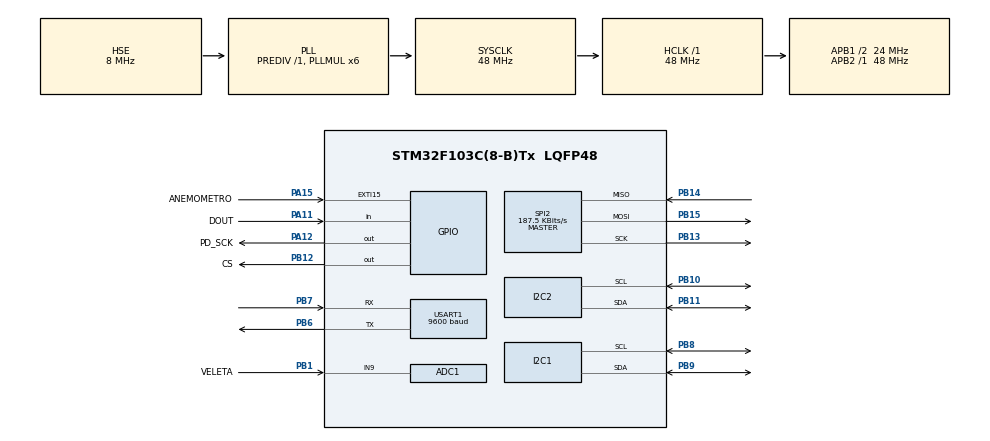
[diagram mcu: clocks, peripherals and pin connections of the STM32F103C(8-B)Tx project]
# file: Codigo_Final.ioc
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ADC1.Channel-0\#ChannelRegularConversion=ADC_CHANNEL_9
ADC1.NbrOfConversionFlag=1
ADC1.Rank-0\#ChannelRegularConversion=1
ADC1.SamplingTime-0\#ChannelRegularConversion=ADC_SAMPLETIME_1CYCLE_5
ADC1.master=1
FATFS._CODE_PAGE=1
Mcu.Family=STM32F1
Mcu.Name=STM32F103C(8-B)Tx
Mcu.Package=LQFP48
NVIC.ADC1_2_IRQn=true\:0\:0\:false\:false\:true\:true\:true\:true
NVIC.EXTI15_10_IRQn=true\:0\:0\:false\:false\:true\:true\:true\:true
NVIC.PriorityGroup=NVIC_PRIORITYGROUP_4
NVIC.TIM2_IRQn=true\:0\:0\:false\:false\:true\:true\:true\:true
NVIC.TIM3_IRQn=true\:0\:0\:false\:false\:true\:true\:true\:true
PA11.GPIO_Label=DOUT
PA11.GPIO_PuPd=GPIO_PULLUP
PA11.Signal=GPIO_Input
PA12.GPIO_Label=PD_SCK
PA12.GPIO_Speed=GPIO_SPEED_FREQ_HIGH
PA12.Signal=GPIO_Output
PA13.Mode=Serial_Wire
PA13.Signal=SYS_JTMS-SWDIO
PA14.Mode=Serial_Wire
PA14.Signal=SYS_JTCK-SWCLK
PA15.GPIO_Label=ANEMOMETRO
PA15.GPIO_PuPd=GPIO_PULLUP
PA15.Signal=GPXTI15
PB1.GPIO_Label=VELETA
PB1.Signal=ADCx_IN9
PB10.Mode=I2C
PB10.Signal=I2C2_SCL
PB11.Mode=I2C
PB11.Signal=I2C2_SDA
PB12.GPIO_Label=CS
PB12.Signal=GPIO_Output
PB13.Mode=Full_Duplex_Master
PB13.Signal=SPI2_SCK
PB14.Mode=Full_Duplex_Master
PB14.Signal=SPI2_MISO
PB15.Mode=Full_Duplex_Master
PB15.Signal=SPI2_MOSI
PB6.Mode=Asynchronous
PB6.Signal=USART1_TX
PB7.Mode=Asynchronous
PB7.Signal=USART1_RX
PB8.Mode=I2C
PB8.Signal=I2C1_SCL
PB9.Mode=I2C
PB9.Signal=I2C1_SDA
PD0-OSC_IN.Mode=HSE-External-Oscillator
PD0-OSC_IN.Signal=RCC_OSC_IN
PD1-OSC_OUT.Mode=HSE-External-Oscillator
PD1-OSC_OUT.Signal=RCC_OSC_OUT
ProjectManager.HeapSize=0x200
ProjectManager.StackSize=0x400
ProjectManager.TargetToolchain=STM32CubeIDE
RCC.ADCPresc=RCC_ADCPCLK2_DIV6
RCC.AHBFreq_Value=48000000
RCC.APB1CLKDivider=RCC_HCLK_DIV2
RCC.APB1Freq_Value=24000000
RCC.APB1TimFreq_Value=48000000
RCC.APB2Freq_Value=48000000
RCC.APB2TimFreq_Value=48000000
RCC.HCLKFreq_Value=48000000
RCC.PLLMUL=RCC_PLL_MUL6
RCC.PLLSourceVirtual=RCC_PLLSOURCE_HSE
RCC.SYSCLKFreq_VALUE=48000000
RCC.SYSCLKSource=RCC_SYSCLKSOURCE_PLLCLK
RCC.USBFreq_Value=48000000
RTC.Date=9
RTC.Hours=22
RTC.Minutes=26
RTC.Month=RTC_MONTH_NOVEMBER
RTC.WeekDay=RTC_WEEKDAY_WEDNESDAY
RTC.Year=22
SH.ADCx_IN9.0=ADC1_IN9,IN9
SPI2.BaudRatePrescaler=SPI_BAUDRATEPRESCALER_128
SPI2.CalculateBaudRate=187.5 KBits/s
SPI2.Direction=SPI_DIRECTION_2LINES
SPI2.Mode=SPI_MODE_MASTER
SPI2.VirtualType=VM_MASTER
TIM1.Prescaler=48
TIM2.Channel-Output\ Compare1\ No\ Output=TIM_CHANNEL_1
TIM2.Period=59999
TIM2.Prescaler=48000
TIM2.Pulse-Output\ Compare1\ No\ Output=2999
TIM3.Channel-Output\ Compare1\ No\ Output=TIM_CHANNEL_1
TIM3.Period=59999
TIM3.Prescaler=800
TIM3.Pulse-Output\ Compare1\ No\ Output=59
USART1.BaudRate=9600
USART1.VirtualMode=VM_ASYNC
VP_FATFS_VS_Generic.Mode=User_defined
VP_RTC_VS_RTC_Activate.Mode=RTC_Enabled
VP_RTC_VS_RTC_Calendar.Mode=RTC_Calendar
VP_TIM1_VS_ClockSourceINT.Mode=Internal
VP_TIM2_VS_ClockSourceINT.Mode=Internal
VP_TIM2_VS_no_output1.Mode=Output Compare1 No Output
VP_TIM3_VS_ClockSourceINT.Mode=Internal
VP_TIM3_VS_no_output1.Mode=Output Compare1 No Output
board=custom

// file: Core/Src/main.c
/* USER CODE BEGIN Header */
/**
  ******************************************************************************
  * @file           : main.c
  * @brief          : Main program body
  ******************************************************************************
  * @attention
  *
  * Copyright (c) 2022 STMicroelectronics.
  * All rights reserved.
  *
  * This software is licensed under terms that can be found in the LICENSE file
  * in the root directory of this software component.
  * If no LICENSE file comes with this software, it is provided AS-IS.
  *
  ******************************************************************************
  */
/* USER CODE END Header */
#include "main.h"
#include "fatfs.h"

/* USER CODE BEGIN Includes */
#include "AHT10.h"
#include "BMP180.h"
#include "HX711.h"
#include "RTC.h"
#include "serial.h"
#include "SPISD.h"
#include "viento.h"
/* USER CODE END Includes */

/* USER CODE BEGIN PTD */
/* Definimos una estructura para guardar los datos meteorológicos adquiridos */
typedef struct METEO_DATA {
	float temp; // Temperatura (en °C) -
	float humrel; // Humedad relativa (en %)
	float pres; // Presión atmosférica (en hPa)
	float velviento; // Velocidad del viento (en km/h)
	DIR_VIENTO dirviento; // Dirección del viento
	float precip; // Precipitación acumulada (en mm)
} METEO_DATA;

/* USER CODE END PTD */

ADC_HandleTypeDef hadc1;

I2C_HandleTypeDef hi2c1;
I2C_HandleTypeDef hi2c2;

RTC_HandleTypeDef hrtc;

SPI_HandleTypeDef hspi2;

TIM_HandleTypeDef htim1;
TIM_HandleTypeDef htim2;
TIM_HandleTypeDef htim3;

UART_HandleTypeDef huart1;

/* USER CODE BEGIN PV */

EXTI_HandleTypeDef hexti; // Variable para limpiar las interrupciones externas pendientes

/* Variables utilizadas para la configuración de la memoria SD */
SPISD spisd;
SPISD *mainSD = &spisd;
uint8_t Sector0[516];

/* Variables tipo bandera */
_Bool flag_muestras=0; // Variable bandera que se pone en 1 cuando interrumpe por OC el CH1 del TIM3, cada 1 ms
_Bool flag_conversion=0; // Variable bandera que se activa cuando finaliza la conversión del ADC
_Bool flag_viento=0; // Variable bandera que se activa cada 3 s para tomar muestras de la vel. y dir. del viento

/* Variables tipo contador */
uint16_t contpulsos=0; // Variable para contar los pulsos generados por el anemómetro en 3 s
uint8_t contminutos=0; // Variable para contar los minutos
uint8_t cantmuestviento=0; // Variable para contar las muestras de dirección y velocidad del viento

/* Variables adicionales */
VIENTO dirvelviento; // Variable tipo estructura para guardar las muestras de dirección y velocidad del viento
FECHA fechaactual; // Variable estructura para guardar la fecha actual leída del RTC
HORA horaactual; // Variable estructura para guardar la hora actual leída del RTC
/* USER CODE END PV */

void SystemClock_Config(void);
static void MX_GPIO_Init(void);
static void MX_ADC1_Init(void);
static void MX_I2C1_Init(void);
static void MX_I2C2_Init(void);
static void MX_RTC_Init(void);
static void MX_SPI2_Init(void);
static void MX_TIM1_Init(void);
static void MX_TIM2_Init(void);
static void MX_TIM3_Init(void);
static void MX_USART1_UART_Init(void);
/* USER CODE BEGIN PFP */
void Adquirir_Datos(METEO_DATA*);
void Enviar_Datos(METEO_DATA*);
void Almacenar_Datos(METEO_DATA*);
/* USER CODE END PFP */

/* USER CODE BEGIN 0 */

/* Rutina que se ejecuta cuando alguno de los timers genera una interrupción por actualización (update interrupt),
 * que en este caso ocurre cuando el contador del timer ha llegado a su valor de autorecarga y vuelve a contar
 * desde 0 (overflow del contador). Esto último es válido cuando el contador cuenta de forma ascendente.
 * En este caso, el timer TIM2 genera una update interrupt cada 1 min, por lo que debemos incrementar el contador
 * de minutos cuando dicho timer interrumpe */
void HAL_TIM_PeriodElapsedCallback(TIM_HandleTypeDef *htim){

	if(htim->Instance == TIM2){
		contminutos++;
	}

}

/* Callback que se ejecuta cuando alguno de los canales de captura y comparación (capture/compare) de los
 * temporizadores genera una interrupción por output compare (comparación de salida). Esta interrupción se genera
 * cuando el valor del registro de capture/compare (CC) del canal correspondiente del timer iguala el valor del
 * contador.
 * En este caso, el CH1 del TIM2 genera una interrupción por OC cada 3 s, y cuando esto ocurre se procede a
 * activar la bandera para tomar muestras de viento y al mismo tiempo se deshabilitan las interrupciones externas.
 * Por otro lado, el CH1 del TIM3 genera una interrupción por OC cada 1 ms */
void HAL_TIM_OC_DelayElapsedCallback(TIM_HandleTypeDef *htim){

	uint16_t pulse; // Variable para leer el contenido del registro de capture/compare
	/* Debemos averiguar de qué temporizador provino la interrupción */
	if(htim->Instance == TIM2){
		HAL_NVIC_DisableIRQ(EXTI0_IRQn); // Deshabilitamos las interrupciones externas
		flag_viento=1; // Activamos la bandera
		pulse = HAL_TIM_ReadCapturedValue(htim, TIM_CHANNEL_1); // Leemos el registro de CC del CH1 del TIM2
		/* Preguntamos si el valor actual del registro de CC más el valor a sumar supera el valor de autorecarga
		 * del contador del TIM2. Si se cumple esto, cargamos en el registro el valor inicial (2999). De lo
		 * contrario, sumamos 3000 al contenido del registro */
		if(__HAL_TIM_GET_AUTORELOAD(htim)>=(pulse+3000)){
			/* Sumamos 3000 al registro de CC del CH1 del TIM2 */
			__HAL_TIM_SET_COMPARE(htim,TIM_CHANNEL_1,(pulse+(3000)));
		}
		else {
			/* Cargamos el valor 2999 en el registro de CC */
			__HAL_TIM_SET_COMPARE(htim,TIM_CHANNEL_1,2999);
		}

	}

	if(htim->Instance == TIM3){
		flag_muestras=1; // Activamos la variable bandera
		pulse = HAL_TIM_ReadCapturedValue(htim, TIM_CHANNEL_1); // Leemos el registro de CC del CH1 del TIM3
		/* Preguntamos si el valor actual del registro de CC más el valor a sumar supera el valor de autorecarga
		 * del contador del TIM3. Si se cumple esto, cargamos en el registro el valor inicial (59). De lo
		 * contrario, sumamos 60 al contenido del registro */
		if(__HAL_TIM_GET_AUTORELOAD(htim)>=(pulse+60)){
			/* Sumamos 60 al registro de CC del CH1 del TIM3 */
			__HAL_TIM_SET_COMPARE(htim,TIM_CHANNEL_1,(pulse+(60)));
		}
		else {
			/* Cargamos el valor 59 en el registro de CC */
			__HAL_TIM_SET_COMPARE(htim,TIM_CHANNEL_1,59);
		}
	}

}

/* Rutina que se ejecuta cuando el ADC finaliza la conversión. En este caso, la interrupción es generada por el
 * ADC1 cuando finaliza la conversión del canal 9 */
void HAL_ADC_ConvCpltCallback(ADC_HandleTypeDef *hadc){

	flag_conversion=1; // Activamos la bandera para indicar el fin de la conversión
}

/*¨Callback que se ejecuta cuando llega una interrupción externa. En este caso, se ejecuta cuando llega una
 * interrupción externa proveniente del pin A15, y cuando llega esta interrupción significa que se detectó un
 * pulso generado por el anemómetro */
void HAL_GPIO_EXTI_Callback(uint16_t GPIO_Pin){

	contpulsos++; // Incrementamos el contador de pulsos del anemómetro
}

/* Esta rutina adquiere los datos meteorológicos provenientes de los distintos sensores, para lo cual utiliza
 * funciones o rutinas de las bibliotecas de cada sensor. Los datos adquiridos se guardan en una variable
 * tipo estructura */
void Adquirir_Datos(METEO_DATA *data){

	AHT10_DATA tempyhum; // Variable para guardar los datos leídos de temperatura y humedad del AHT10
	float angprom; // �?ngulo promedio de la dirección del viento
	uint8_t contsigpos,contsigneg; // Variables para contar los signos positivos y negativos de los ángulos

	/* Leemos primero el dato actual de temperatura y actual del sensor AHT10. En este caso, tomamos una
	 * sola muestra de temperatura y humedad */
	tempyhum=AHT10_Read();
	data->temp=tempyhum.tcelsius; // Temperatura actual (en °C)
	data->humrel=tempyhum.hr; // Humedad relativa (en %)

	/* Ahora leemos el dato de presión atmosférica proveniente del sensor BMP180. Al igual que antes,
	 * tomamos una única muestra de presión atmosférica sin hacer ningún promedio */
	data->pres=BMP180_Get_TruePressure(BMP180_STANDARD); // Presión atmosférica (en hPa)

	/* Obtenemos ahora la precipitación acumulada mediante una lectura del pluviómetro */
	data->precip=Leer_Pluviometro(); // Precipitación acumulada (en mm)

	/* Obtenemos la dirección del viento a partir del promedio de las muestras de ángulo de la dirección del
	 * viento tomadas cada 3 s durante los últimos 5 minutos */
	angprom=Promedio_Angulo(dirvelviento.angdir); // Obtenemos el ángulo promedio de la dir. del viento
	contsigpos=Contar_Signos(dirvelviento.sigdir,positivo); // Contamos los signos positivos de los ángulos
	contsigneg=Contar_Signos(dirvelviento.sigdir,negativo); // Contamos los signos negativos de los ángulos
	// Hallamos la dir. del viento a partir del ángulo promedio y la cantidad de signos
	data->dirviento=Obtener_Dir_Viento(angprom,contsigpos,contsigneg);

	/* Obtenemos ahora la velocidad del viento promediando las muestras de velocidad de viento tomadas cada
	 * 3 s durante los últimos 5 minutos */
	data->velviento=Promedio_Muestras_Anemometro(dirvelviento.velv);
	cantmuestviento=0; // Reseteamos la variable que cuenta las muestras de viento

}

/* Rutina que envía los datos meteorológicos adquiridos al módulo Bluetooth mediante la interfaz UART, junto
 * con la fecha y hora actual */
void Enviar_Datos(METEO_DATA *data){

	/* Enviamos primero la fecha y hora actuales */
	Enviar_Fecha_Actual(&fechaactual,'F'); // Enviamos la fecha actual
	Enviar_Hora_Actual(&horaactual,'I'); // Enviamos la hora actual

	/* Enviamos ahora los datos meteorológicos adquiridos */
	Enviar_Dato_Float(data->temp,'T',2); // Temperatura (2 dígitos significativos)
	Enviar_Dato_Float(data->humrel,'H',2); // Humedad relativa (2 dígitos significativos)
	Enviar_Dato_Float(data->pres,'P',4); // Presión atmosférica (4 dígitos significativos)
	/* Si el viento no está calmo, enviamos la dirección del viento normalmente. En cambio, si el viento
	 * está calmo, enviamos un guión '-' en lugar de la dirección del viento ya que no tiene sentido
	 * indicar la dir. del viento cuando no hay viento */
	if(data->velviento>0){
		Enviar_Dir_Viento(data->dirviento); // Dirección del viento
		Enviar_Dato_Float(data->velviento,'V',2); // Velocidad del viento (2 dígitos significativos)
	}
	else {
		Enviar_Caracter("-", 'D'); // Enviamos un guión '-'
		Enviar_Dato_Float(data->velviento,'V',2); // Velocidad del viento (2 dígitos significativos)
	}
	Enviar_Dato_Float(data->precip,'L',3); // Precipitación acumulada (3 dígitos significativos)

}

/* Rutina que almacena los datos meteorológicos adquiridos en la memoria SD, junto con la fecha y hora
 * actuales. Para ello utiliza la interfaz de comunicación SPI */
void Almacenar_Datos(METEO_DATA *data){

	/* Escribimos primero la fecha actual en el archivo de texto de la memoria SD */
	Escribir_Fecha_Actual(&fechaactual);
	/* Ahora escribimos la hora actual en el archivo de texto */
	Escribir_Hora_Actual(&horaactual);
	/* Finalmente escribimos los datos meteorológicos adquiridos en el archivo de texto */
	Escribir_Dato_Float(data->temp,2," "); // Temperatura (2 dígitos significativos)
	Escribir_Dato_Float(data->humrel,2," "); // Humedad (2 dígitos significativos)
	Escribir_Dato_Float(data->pres,4," "); // Presión atmosférica (4 dígitos significativos)
	/* Si el viento no está calmo, guardamos la dirección del viento normalmente. En cambio, si el viento
	 * está calmo, guardamos un guión '-' en lugar de la dirección del viento ya que no tiene sentido
	 * indicar la dir. del viento cuando no hay viento */
	if(data->velviento>0){
		Escribir_Dir_Viento(data->dirviento," "); // Dirección del viento
		Escribir_Dato_Float(data->velviento,2," "); // Velocidad del viento (2 dígitos significativos)
	}
	else {
		Escribir_Caracter("-", " "); // Escribimos un guión para indicar que el viento es calmo
		Escribir_Dato_Float(data->velviento,2," "); // Velocidad del viento (2 dígitos significativos)
	}

	Escribir_Dato_Float(data->precip,3,"\n"); // Precipitación (3 dígitos significativos)
}

/* USER CODE END 0 */

int main(void)
{

  /* MCU Configuration--------------------------------------------------------*/

  /* Reset of all peripherals, Initializes the Flash interface and the Systick. */
  HAL_Init();

  /* Configure the system clock */
  SystemClock_Config();

  /* USER CODE BEGIN SysInit */
  /* Guardamos en los campos de la estructura SPISD los parámetros para la configuración de la tarjeta SD */
  spisd.FSM=Encendido;
  spisd.csPuerto = CS_GPIO_Port;
  spisd.csPin = CS_Pin;
  spisd.puertoSPI = &hspi2;
  spisd.sectorAddressing=1; //Asumimos SDHC (+2GB)
  spisd.hrtc = &hrtc;
  /* USER CODE END SysInit */

  /* Initialize all configured peripherals */
  MX_GPIO_Init();
  MX_ADC1_Init();
  MX_I2C1_Init();
  MX_I2C2_Init();
  MX_RTC_Init();
  MX_SPI2_Init();
  MX_TIM1_Init();
  MX_TIM2_Init();
  MX_TIM3_Init();
  MX_USART1_UART_Init();
  MX_FATFS_Init();
  /* USER CODE BEGIN 2 */
  /* Obtenemos los coeficientes de calibración del sensor BMP180 para el cálculo de la presión */
  BMP180_Get_AllCalCoef();
  /* Función para calibrar el pluviómetro utilizando un peso conocido (en este caso, un peso de agua conocido) */
  HX711_Set_Scale(20);

  /* Realizamos el ajuste de la fecha y hora en el RTC, solicitándole al usuario que ingrese la fecha y hora actual */
  Ajustar_Hora_Actual();
  Ajustar_Fecha_Actual();

  // Las variables &USERFatFS y USERPath son creadas automáticamente por el File system
  f_mount(&USERFatFS,USERPath,0);

  /* Creamos un archivo de texto llamado "METEODATA" para poder guardar los datos meteorológicos */
  f_open(&USERFile,"Datos.txt",FA_CREATE_ALWAYS | FA_WRITE);

  /* Limpiamos las interrupciones pendientes de los timers y el ADC */
  __HAL_TIM_CLEAR_IT(&htim2, TIM_IT_UPDATE);
  __HAL_TIM_CLEAR_IT(&htim2, TIM_IT_CC1);
  __HAL_TIM_CLEAR_IT(&htim2, TIM_IT_CC2);
  __HAL_TIM_CLEAR_IT(&htim3, TIM_IT_CC1);
  __HAL_ADC_CLEAR_FLAG(&hadc1, ADC_FLAG_EOC);
  /* Limpiamos las interrupciones externas pendientes */
  HAL_EXTI_ClearPending(&hexti, EXTI_TRIGGER_RISING);

  /* Inicializamos el timer TIM2, el cual generará la demora necesaria para la adquisición de datos */
  HAL_TIM_Base_Start_IT(&htim2);
  HAL_TIM_OC_Start_IT(&htim2, TIM_CHANNEL_1);

  METEO_DATA datos; // Variable para guardar los datos meteorológicos leídos
  uint8_t buffer[4];

  /* USER CODE END 2 */

  /* Infinite loop */
  while (1)
  {

    /* USER CODE BEGIN 3 */
	  Tomar_Muestras_Viento(&dirvelviento); // Tomamos muestras de la dir. y vel. del viento cada 3 s
	  /* Si pasaron 5 minutos desde la última adquisición de datos, adquirimos datos nuevamente para luego
	   * enviarlos a la app y almacenarlos en la memoria */
	  if(contminutos==5){
		  contminutos=0; // Resetemaos el contador de minutos
		  Adquirir_Datos(&datos);
		  /* Obtenemos primero la fecha y hora actual para luego enviar y almacenar los datos */
	      fechaactual=Obtener_Fecha_Actual();
		  horaactual=Obtener_Hora_Actual();
		  Enviar_Datos(&datos);
		  Almacenar_Datos(&datos);
	  }
	  /* Preguntamos si se recibió la palabra 'TARA' a través del puerto serie. De ser así, procedemos a ajustar
	   * nuevamente la tara del sensor */
	  if(HAL_UART_Receive(&huart1, buffer, 4, 10) == HAL_OK){
		  /* Para saber si recibimos la palabra 'TARA' evaluamos los valores en ASCII recibidos.
		   * - buffer[0]==84 (T)
		   * - buffer[1]==65 (A)
		   * - buffer[2]==82 (R)
		   * - buffer[3]==65 (A) */
		  if(buffer[0]==84 && buffer[1]==65 && buffer[2]==82 && buffer[3]==65){
			  HX711_Set_Tare(20);
		  }
	  }

  }
  /* USER CODE END 3 */
}

void SystemClock_Config(void)
{
  RCC_OscInitTypeDef RCC_OscInitStruct = {0};
  RCC_ClkInitTypeDef RCC_ClkInitStruct = {0};
  RCC_PeriphCLKInitTypeDef PeriphClkInit = {0};

  /** Initializes the RCC Oscillators according to the specified parameters
  * in the RCC_OscInitTypeDef structure.
  */
  RCC_OscInitStruct.OscillatorType = RCC_OSCILLATORTYPE_LSI|RCC_OSCILLATORTYPE_HSE;
  RCC_OscInitStruct.HSEState = RCC_HSE_ON;
  RCC_OscInitStruct.HSEPredivValue = RCC_HSE_PREDIV_DIV1;
  RCC_OscInitStruct.HSIState = RCC_HSI_ON;
  RCC_OscInitStruct.LSIState = RCC_LSI_ON;
  RCC_OscInitStruct.PLL.PLLState = RCC_PLL_ON;
  RCC_OscInitStruct.PLL.PLLSource = RCC_PLLSOURCE_HSE;
  RCC_OscInitStruct.PLL.PLLMUL = RCC_PLL_MUL6;
  if (HAL_RCC_OscConfig(&RCC_OscInitStruct) != HAL_OK)
  {
    Error_Handler();
  }

  /** Initializes the CPU, AHB and APB buses clocks
  */
  RCC_ClkInitStruct.ClockType = RCC_CLOCKTYPE_HCLK|RCC_CLOCKTYPE_SYSCLK
                              |RCC_CLOCKTYPE_PCLK1|RCC_CLOCKTYPE_PCLK2;
  RCC_ClkInitStruct.SYSCLKSource = RCC_SYSCLKSOURCE_PLLCLK;
  RCC_ClkInitStruct.AHBCLKDivider = RCC_SYSCLK_DIV1;
  RCC_ClkInitStruct.APB1CLKDivider = RCC_HCLK_DIV2;
  RCC_ClkInitStruct.APB2CLKDivider = RCC_HCLK_DIV1;

  if (HAL_RCC_ClockConfig(&RCC_ClkInitStruct, FLASH_LATENCY_1) != HAL_OK)
  {
    Error_Handler();
  }
  PeriphClkInit.PeriphClockSelection = RCC_PERIPHCLK_RTC|RCC_PERIPHCLK_ADC;
  PeriphClkInit.RTCClockSelection = RCC_RTCCLKSOURCE_LSI;
  PeriphClkInit.AdcClockSelection = RCC_ADCPCLK2_DIV6;
  if (HAL_RCCEx_PeriphCLKConfig(&PeriphClkInit) != HAL_OK)
  {
    Error_Handler();
  }
}

static void MX_ADC1_Init(void)
{

  ADC_ChannelConfTypeDef sConfig = {0};

  /** Common config
  */
  hadc1.Instance = ADC1;
  hadc1.Init.ScanConvMode = ADC_SCAN_DISABLE;
  hadc1.Init.ContinuousConvMode = DISABLE;
  hadc1.Init.DiscontinuousConvMode = DISABLE;
  hadc1.Init.ExternalTrigConv = ADC_SOFTWARE_START;
  hadc1.Init.DataAlign = ADC_DATAALIGN_RIGHT;
  hadc1.Init.NbrOfConversion = 1;
  if (HAL_ADC_Init(&hadc1) != HAL_OK)
  {
    Error_Handler();
  }

  /** Configure Regular Channel
  */
  sConfig.Channel = ADC_CHANNEL_9;
  sConfig.Rank = ADC_REGULAR_RANK_1;
  sConfig.SamplingTime = ADC_SAMPLETIME_1CYCLE_5;
  if (HAL_ADC_ConfigChannel(&hadc1, &sConfig) != HAL_OK)
  {
    Error_Handler();
  }

}

static void MX_I2C1_Init(void)
{

  hi2c1.Instance = I2C1;
  hi2c1.Init.ClockSpeed = 100000;
  hi2c1.Init.DutyCycle = I2C_DUTYCYCLE_2;
  hi2c1.Init.OwnAddress1 = 0;
  hi2c1.Init.AddressingMode = I2C_ADDRESSINGMODE_7BIT;
  hi2c1.Init.DualAddressMode = I2C_DUALADDRESS_DISABLE;
  hi2c1.Init.OwnAddress2 = 0;
  hi2c1.Init.GeneralCallMode = I2C_GENERALCALL_DISABLE;
  hi2c1.Init.NoStretchMode = I2C_NOSTRETCH_DISABLE;
  if (HAL_I2C_Init(&hi2c1) != HAL_OK)
  {
    Error_Handler();
  }

}

static void MX_I2C2_Init(void)
{

  hi2c2.Instance = I2C2;
  hi2c2.Init.ClockSpeed = 100000;
  hi2c2.Init.DutyCycle = I2C_DUTYCYCLE_2;
  hi2c2.Init.OwnAddress1 = 0;
  hi2c2.Init.AddressingMode = I2C_ADDRESSINGMODE_7BIT;
  hi2c2.Init.DualAddressMode = I2C_DUALADDRESS_DISABLE;
  hi2c2.Init.OwnAddress2 = 0;
  hi2c2.Init.GeneralCallMode = I2C_GENERALCALL_DISABLE;
  hi2c2.Init.NoStretchMode = I2C_NOSTRETCH_DISABLE;
  if (HAL_I2C_Init(&hi2c2) != HAL_OK)
  {
    Error_Handler();
  }

}

static void MX_RTC_Init(void)
{

  RTC_TimeTypeDef sTime = {0};
  RTC_DateTypeDef DateToUpdate = {0};

  /** Initialize RTC Only
  */
  hrtc.Instance = RTC;
  hrtc.Init.AsynchPrediv = RTC_AUTO_1_SECOND;
  hrtc.Init.OutPut = RTC_OUTPUTSOURCE_ALARM;
  if (HAL_RTC_Init(&hrtc) != HAL_OK)
  {
    Error_Handler();
  }

  /** Initialize RTC and set the Time and Date
  */
  sTime.Hours = 0x22;
  sTime.Minutes = 0x26;
  sTime.Seconds = 0x0;

  if (HAL_RTC_SetTime(&hrtc, &sTime, RTC_FORMAT_BCD) != HAL_OK)
  {
    Error_Handler();
  }
  DateToUpdate.WeekDay = RTC_WEEKDAY_WEDNESDAY;
  DateToUpdate.Month = RTC_MONTH_NOVEMBER;
  DateToUpdate.Date = 0x9;
  DateToUpdate.Year = 0x22;

  if (HAL_RTC_SetDate(&hrtc, &DateToUpdate, RTC_FORMAT_BCD) != HAL_OK)
  {
    Error_Handler();
  }

}

static void MX_SPI2_Init(void)
{

  /* SPI2 parameter configuration*/
  hspi2.Instance = SPI2;
  hspi2.Init.Mode = SPI_MODE_MASTER;
  hspi2.Init.Direction = SPI_DIRECTION_2LINES;
  hspi2.Init.DataSize = SPI_DATASIZE_8BIT;
  hspi2.Init.CLKPolarity = SPI_POLARITY_LOW;
  hspi2.Init.CLKPhase = SPI_PHASE_1EDGE;
  hspi2.Init.NSS = SPI_NSS_SOFT;
  hspi2.Init.BaudRatePrescaler = SPI_BAUDRATEPRESCALER_128;
  hspi2.Init.FirstBit = SPI_FIRSTBIT_MSB;
  hspi2.Init.TIMode = SPI_TIMODE_DISABLE;
  hspi2.Init.CRCCalculation = SPI_CRCCALCULATION_DISABLE;
  hspi2.Init.CRCPolynomial = 10;
  if (HAL_SPI_Init(&hspi2) != HAL_OK)
  {
    Error_Handler();
  }

}

static void MX_TIM1_Init(void)
{

  TIM_ClockConfigTypeDef sClockSourceConfig = {0};
  TIM_MasterConfigTypeDef sMasterConfig = {0};

  htim1.Instance = TIM1;
  htim1.Init.Prescaler = 48;
  htim1.Init.CounterMode = TIM_COUNTERMODE_UP;
  htim1.Init.Period = 65535;
  htim1.Init.ClockDivision = TIM_CLOCKDIVISION_DIV1;
  htim1.Init.RepetitionCounter = 0;
  htim1.Init.AutoReloadPreload = TIM_AUTORELOAD_PRELOAD_DISABLE;
  if (HAL_TIM_Base_Init(&htim1) != HAL_OK)
  {
    Error_Handler();
  }
  sClockSourceConfig.ClockSource = TIM_CLOCKSOURCE_INTERNAL;
  if (HAL_TIM_ConfigClockSource(&htim1, &sClockSourceConfig) != HAL_OK)
  {
    Error_Handler();
  }
  sMasterConfig.MasterOutputTrigger = TIM_TRGO_RESET;
  sMasterConfig.MasterSlaveMode = TIM_MASTERSLAVEMODE_DISABLE;
  if (HAL_TIMEx_MasterConfigSynchronization(&htim1, &sMasterConfig) != HAL_OK)
  {
    Error_Handler();
  }

}

static void MX_TIM2_Init(void)
{

  TIM_ClockConfigTypeDef sClockSourceConfig = {0};
  TIM_MasterConfigTypeDef sMasterConfig = {0};
  TIM_OC_InitTypeDef sConfigOC = {0};

  htim2.Instance = TIM2;
  htim2.Init.Prescaler = 48000;
  htim2.Init.CounterMode = TIM_COUNTERMODE_UP;
  htim2.Init.Period = 59999;
  htim2.Init.ClockDivision = TIM_CLOCKDIVISION_DIV1;
  htim2.Init.AutoReloadPreload = TIM_AUTORELOAD_PRELOAD_DISABLE;
  if (HAL_TIM_Base_Init(&htim2) != HAL_OK)
  {
    Error_Handler();
  }
  sClockSourceConfig.ClockSource = TIM_CLOCKSOURCE_INTERNAL;
  if (HAL_TIM_ConfigClockSource(&htim2, &sClockSourceConfig) != HAL_OK)
  {
    Error_Handler();
  }
  if (HAL_TIM_OC_Init(&htim2) != HAL_OK)
  {
    Error_Handler();
  }
  sMasterConfig.MasterOutputTrigger = TIM_TRGO_RESET;
  sMasterConfig.MasterSlaveMode = TIM_MASTERSLAVEMODE_DISABLE;
  if (HAL_TIMEx_MasterConfigSynchronization(&htim2, &sMasterConfig) != HAL_OK)
  {
    Error_Handler();
  }
  sConfigOC.OCMode = TIM_OCMODE_TIMING;
  sConfigOC.Pulse = 2999;
  sConfigOC.OCPolarity = TIM_OCPOLARITY_HIGH;
  sConfigOC.OCFastMode = TIM_OCFAST_DISABLE;
  if (HAL_TIM_OC_ConfigChannel(&htim2, &sConfigOC, TIM_CHANNEL_1) != HAL_OK)
  {
    Error_Handler();
  }

}

static void MX_TIM3_Init(void)
{

  TIM_ClockConfigTypeDef sClockSourceConfig = {0};
  TIM_MasterConfigTypeDef sMasterConfig = {0};
  TIM_OC_InitTypeDef sConfigOC = {0};

  htim3.Instance = TIM3;
  htim3.Init.Prescaler = 800;
  htim3.Init.CounterMode = TIM_COUNTERMODE_UP;
  htim3.Init.Period = 59999;
  htim3.Init.ClockDivision = TIM_CLOCKDIVISION_DIV1;
  htim3.Init.AutoReloadPreload = TIM_AUTORELOAD_PRELOAD_DISABLE;
  if (HAL_TIM_Base_Init(&htim3) != HAL_OK)
  {
    Error_Handler();
  }
  sClockSourceConfig.ClockSource = TIM_CLOCKSOURCE_INTERNAL;
  if (HAL_TIM_ConfigClockSource(&htim3, &sClockSourceConfig) != HAL_OK)
  {
    Error_Handler();
  }
  if (HAL_TIM_OC_Init(&htim3) != HAL_OK)
  {
    Error_Handler();
  }
  sMasterConfig.MasterOutputTrigger = TIM_TRGO_RESET;
  sMasterConfig.MasterSlaveMode = TIM_MASTERSLAVEMODE_DISABLE;
  if (HAL_TIMEx_MasterConfigSynchronization(&htim3, &sMasterConfig) != HAL_OK)
  {
    Error_Handler();
  }
  sConfigOC.OCMode = TIM_OCMODE_TIMING;
  sConfigOC.Pulse = 59;
  sConfigOC.OCPolarity = TIM_OCPOLARITY_HIGH;
  sConfigOC.OCFastMode = TIM_OCFAST_DISABLE;
  if (HAL_TIM_OC_ConfigChannel(&htim3, &sConfigOC, TIM_CHANNEL_1) != HAL_OK)
  {
    Error_Handler();
  }

}

static void MX_USART1_UART_Init(void)
{

  huart1.Instance = USART1;
  huart1.Init.BaudRate = 9600;
  huart1.Init.WordLength = UART_WORDLENGTH_8B;
  huart1.Init.StopBits = UART_STOPBITS_1;
  huart1.Init.Parity = UART_PARITY_NONE;
  huart1.Init.Mode = UART_MODE_TX_RX;
  huart1.Init.HwFlowCtl = UART_HWCONTROL_NONE;
  huart1.Init.OverSampling = UART_OVERSAMPLING_16;
  if (HAL_UART_Init(&huart1) != HAL_OK)
  {
    Error_Handler();
  }

}

static void MX_GPIO_Init(void)
{
  GPIO_InitTypeDef GPIO_InitStruct = {0};

  /* GPIO Ports Clock Enable */
  __HAL_RCC_GPIOD_CLK_ENABLE();
  __HAL_RCC_GPIOB_CLK_ENABLE();
  __HAL_RCC_GPIOA_CLK_ENABLE();

  /*Configure GPIO pin Output Level */
  HAL_GPIO_WritePin(CS_GPIO_Port, CS_Pin, GPIO_PIN_RESET);

  /*Configure GPIO pin Output Level */
  HAL_GPIO_WritePin(PD_SCK_GPIO_Port, PD_SCK_Pin, GPIO_PIN_RESET);

  /*Configure GPIO pin : CS_Pin */
  GPIO_InitStruct.Pin = CS_Pin;
  GPIO_InitStruct.Mode = GPIO_MODE_OUTPUT_PP;
  GPIO_InitStruct.Pull = GPIO_NOPULL;
  GPIO_InitStruct.Speed = GPIO_SPEED_FREQ_LOW;
  HAL_GPIO_Init(CS_GPIO_Port, &GPIO_InitStruct);

  /*Configure GPIO pin : DOUT_Pin */
  GPIO_InitStruct.Pin = DOUT_Pin;
  GPIO_InitStruct.Mode = GPIO_MODE_INPUT;
  GPIO_InitStruct.Pull = GPIO_PULLUP;
  HAL_GPIO_Init(DOUT_GPIO_Port, &GPIO_InitStruct);

  /*Configure GPIO pin : PD_SCK_Pin */
  GPIO_InitStruct.Pin = PD_SCK_Pin;
  GPIO_InitStruct.Mode = GPIO_MODE_OUTPUT_PP;
  GPIO_InitStruct.Pull = GPIO_NOPULL;
  GPIO_InitStruct.Speed = GPIO_SPEED_FREQ_HIGH;
  HAL_GPIO_Init(PD_SCK_GPIO_Port, &GPIO_InitStruct);

  /*Configure GPIO pin : ANEMOMETRO_Pin */
  GPIO_InitStruct.Pin = ANEMOMETRO_Pin;
  GPIO_InitStruct.Mode = GPIO_MODE_IT_RISING;
  GPIO_InitStruct.Pull = GPIO_PULLUP;
  HAL_GPIO_Init(ANEMOMETRO_GPIO_Port, &GPIO_InitStruct);

  /* EXTI interrupt init*/
  HAL_NVIC_SetPriority(EXTI15_10_IRQn, 0, 0);
  HAL_NVIC_EnableIRQ(EXTI15_10_IRQn);

}

void Error_Handler(void)
{
  __disable_irq();
  while (1)
  {
  }
}
